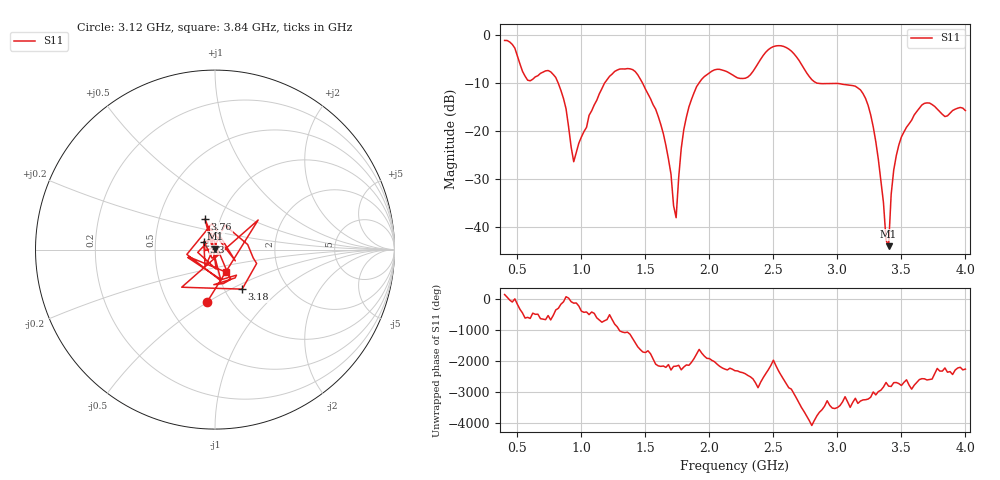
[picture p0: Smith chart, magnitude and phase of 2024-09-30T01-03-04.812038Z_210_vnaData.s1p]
!Created with skrf (http://scikit-rf.org).
# Hz S RI R 50.0
!freq ReS11 ImS11
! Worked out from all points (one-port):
!   181 points, 400 MHz to 4 GHz, reference 50 ohm
!   lowest |S11| = -44.0 dB at 3.4 GHz (marker M1), VSWR 1.01, Z = 50.2 + j0.587 ohm
!   |S11| at or under -10 dB: 817.9 MHz to 1.182 GHz (364.5 MHz wide, 36.4 % of centre); 1.477 GHz to 1.92 GHz (442.9 MHz wide, 26.1 % of centre); 2.836 GHz to end of sweep
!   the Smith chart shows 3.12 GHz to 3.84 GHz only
!   S11 on the Smith chart (normalised r, x): 3.12 GHz: 0.78, -0.50; 3.18 GHz: 1.21, -0.57; 3.3 GHz: 0.88, +0.08; 3.76 GHz: 0.85, +0.30; 3.84 GHz: 1.10, -0.28
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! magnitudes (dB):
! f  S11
! 400 MHz  -1.2
! 580 MHz  -9.4
! 760 MHz  -7.7
! 860 MHz  -13.3
! 940 MHz  -26.4
! 1.18 GHz  -10.1
! 1.3 GHz  -7.1
! 1.42 GHz  -7.6
! 1.58 GHz  -15.5
! 1.66 GHz  -23.0
! 1.74 GHz  -38.1
! 1.76 GHz  -29.7
! 1.8 GHz  -19.7
! 1.9 GHz  -10.8
! 2.2 GHz  -8.7
! 2.5 GHz  -2.5
! 2.66 GHz  -3.9
! 2.82 GHz  -9.8
! 3.1 GHz  -10.5
! 3.12 GHz  -10.6
! 3.18 GHz  -11.5
! 3.3 GHz  -22.3
! 3.4 GHz  -44.0
! 3.44 GHz  -28.2
! 3.56 GHz  -18.5
! 3.76 GHz  -14.9
! 3.84 GHz  -17.0
! 4 GHz  -15.8
